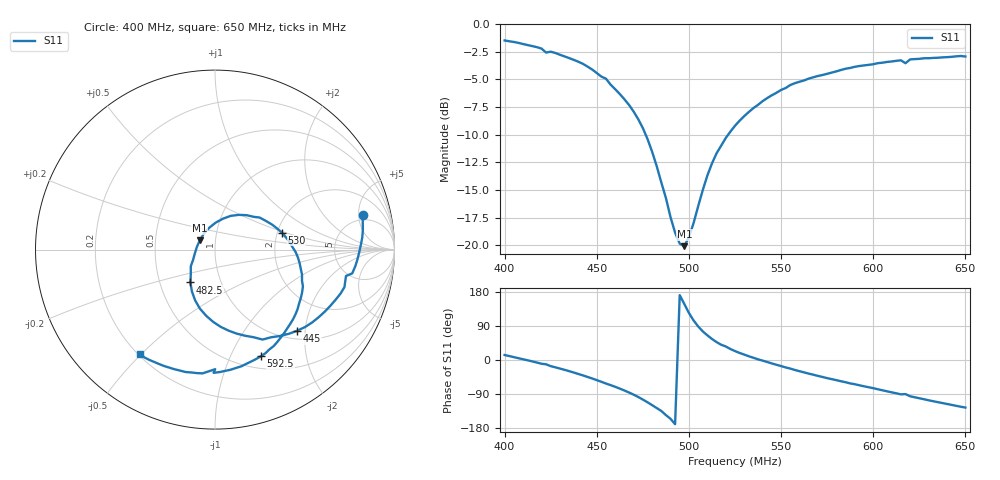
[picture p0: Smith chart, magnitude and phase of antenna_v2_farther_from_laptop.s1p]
# HZ S RI R 50
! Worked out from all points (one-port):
!   101 points, 400 MHz to 650 MHz, reference 50 ohm
!   lowest |S11| = -20.1 dB at 497.5 MHz (marker M1), VSWR 1.22, Z = 42 + j4.49 ohm
!   |S11| at or under -10 dB: 476.6 MHz to 521.2 MHz (44.68 MHz wide, 8.95 % of centre)
!   S11 on the Smith chart (normalised r, x): 400 MHz: 4.18, +5.60; 445 MHz: 1.17, -1.81; 482.5 MHz: 0.71, -0.28; 530 MHz: 2.12, +0.47; 592.5 MHz: 0.64, -1.31; 650 MHz: 0.21, -0.50
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4e8  0.8219 0.1925
4.175e8  0.7821 -0.0917
4.225e8  0.7298 -0.147
4.25e8  0.7212 -0.209
4.325e8  0.6436 -0.3121
4.45e8  0.4572 -0.4523
4.55e8  0.2652 -0.5012
4.625e8  0.121 -0.4681
4.75e8  -0.0844 -0.3286
4.825e8  -0.1367 -0.1832
4.925e8  -0.1123 -0.021
4.95e8  -0.1007 0.0156
4.975e8  -0.084 0.0528
5.025e8  -0.0316 0.1219
5.1e8  0.087 0.1879
5.15e8  0.177 0.1917
5.25e8  0.3186 0.1389
5.3e8  0.3723 0.0947
5.425e8  0.4616 -0.0431
5.575e8  0.4851 -0.24
5.7e8  0.4339 -0.39
5.875e8  0.2997 -0.559
5.925e8  0.2556 -0.5943
6.15e8  -0.0079 -0.6865
6.175e8  0.000992 -0.6662
6.2e8  -0.0691 -0.6896
6.375e8  -0.2829 -0.6489
6.5e8  -0.4152 -0.5812
